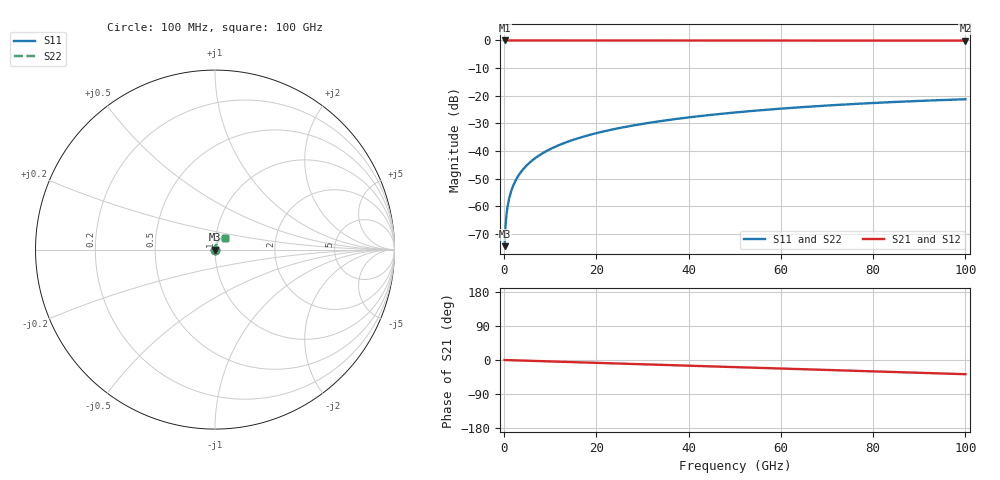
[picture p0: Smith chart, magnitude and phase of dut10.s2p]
! Touchstone file exported from HFSS 2026.1.0
!  File:  C:/ffzhzh/LocalFiles/Ansys_Project_Files/temp_train_TSV_10_1783504232_44152.aedt
!  Generated:  05:51:55 PM Jul  8, 2026
!  Design:  TSV
!  Project:  temp_train_TSV_10_1783504232_44152
! Variables:
!  h_bsmrdl = 2um
!  h_ox = 20um
!  h_rdl = 5um
!  h_sub = 72.22um
!  h_tmrdl = 5um
!  h_tsv = 72.22um
!  h_via = 3um
!  l_bsmrdl = 300um
!  l_sub = 419.02um
!  l_tmrdl = 200um
!  m_sub = 200um
!  pitch = 46.16um
!  r_tsv = 9.51um
!  s_tmrdl = 10um
!  w_bsmrdl = 18um
!  w_sub = 500um
!  w_tmrdl = 12um
!  x_tsv_center1 = 206um
!  x_tsv_center2 = 524um
!  x_tsv_center3 = 736um
!  x_tsv_center4 = 1054um
!  x_tsv_center5 = 1266um
!  x_tsv_center6 = 1584um
# GHz S MA R 50.000000
! Terminal data exported
! Port[1] = TSV1_1_T1
! Port[2] = TSV1_1_T2
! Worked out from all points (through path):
!   1000 points, 100 MHz to 100 GHz, reference 50 ohm
!   highest |S21| = 0.00 dB at 100 MHz (marker M1); lowest = -0.1 dB at 100 GHz (marker M2)
!   group delay of S21, straight-line fit = 1.04 ps
!   lowest |S11| = -74.3 dB at 100 MHz (marker M3), VSWR 1.00, Z = 50 + j0.0145 ohm
!   |S11| at or under -10 dB: start of sweep to end of sweep
!   |S22| runs from -74.3 to -21.2 dB; largest |S21 - S12| = 4.5e-15
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0.1  0.0001918 48.9  0.9999 -0.0  0.9999 -0.0  0.0001918 48.9
! Gamma 0 0 0 0
! Port Impedance 50 0 50 0
0.4  0.0005782 72.5  0.9998 -0.2  0.9998 -0.2  0.0005782 72.5
0.7  0.0009444 75.9  0.9998 -0.3  0.9998 -0.3  0.0009444 75.9
0.8  0.001062 76.5  0.9998 -0.3  0.9998 -0.3  0.001062 76.5
1.1  0.001406 78.0  0.9997 -0.4  0.9997 -0.4  0.001406 78.0
1.4  0.001746 79.1  0.9997 -0.5  0.9997 -0.5  0.001746 79.1
1.9  0.002305 80.1  0.9996 -0.7  0.9996 -0.7  0.002305 80.1
2.4  0.002857 80.8  0.9996 -0.9  0.9996 -0.9  0.002857 80.8
3.1  0.003619 81.3  0.9995 -1.2  0.9995 -1.2  0.003619 81.3
3.9  0.004478 81.7  0.9995 -1.5  0.9995 -1.5  0.004478 81.7
4.9  0.005541 82.0  0.9994 -1.9  0.9994 -1.9  0.005541 82.0
6.1  0.00681 82.1  0.9993 -2.3  0.9993 -2.3  0.00681 82.1
8.9  0.009747 81.9  0.9992 -3.4  0.9992 -3.4  0.009747 81.9
12.4  0.01337 81.2  0.999 -4.7  0.999 -4.7  0.01337 81.2
16.8  0.01788 80.1  0.9987 -6.3  0.9987 -6.3  0.01788 80.1
24.2  0.02534 77.9  0.9983 -9.1  0.9983 -9.1  0.02534 77.9
33.4  0.0344 74.9  0.9978 -12.6  0.9978 -12.6  0.0344 74.9
41.2  0.04183 72.2  0.9974 -15.5  0.9974 -15.5  0.04183 72.2
50.1  0.04999 69.0  0.9968 -18.8  0.9968 -18.8  0.04999 69.1
66.7  0.0641 63.1  0.9957 -25.0  0.9957 -25.0  0.0641 63.1
83.4  0.07651 57.0  0.9945 -31.3  0.9945 -31.3  0.07651 57.1
100  0.08661 51.0  0.9934 -37.5  0.9934 -37.5  0.08661 51.0
